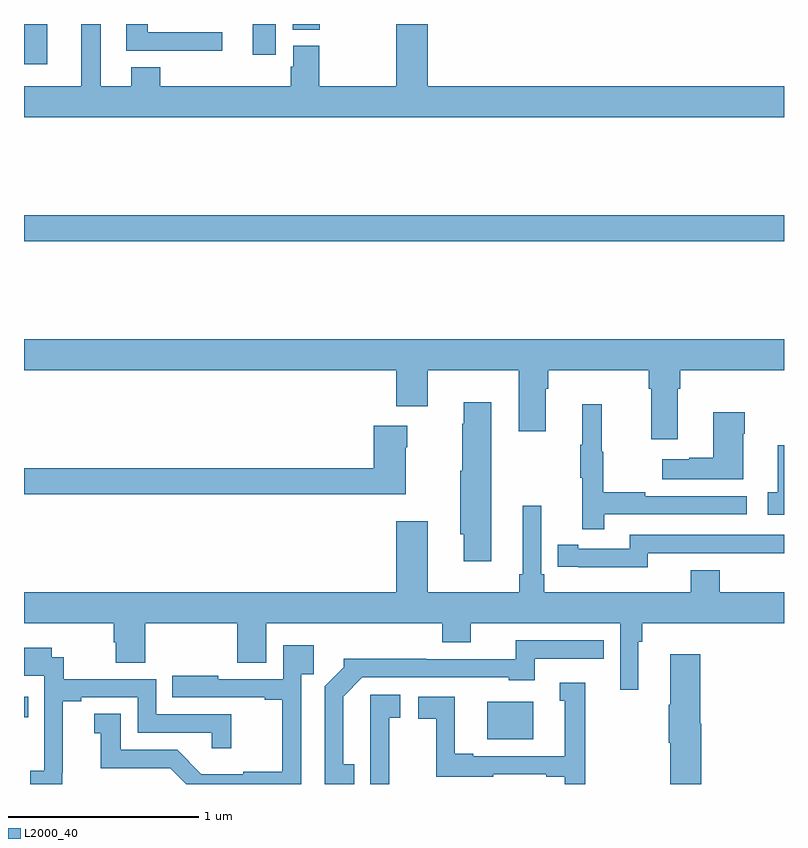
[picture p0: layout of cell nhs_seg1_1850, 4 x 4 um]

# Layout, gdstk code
import gdstk
lib = gdstk.Library(unit=1e-6, precision=1e-09)
def R(c, l, rs):  # rectangles x0, y0, x1, y1
    for r in rs: c.add(gdstk.rectangle(r[:2], r[2:], *l))
def P(c, l, *ps):  # polygons
    for p in ps: c.add(gdstk.Polygon(p, *l))
L2000_40 = (2000, 40)

nhs_seg1_1850 = lib.new_cell('nhs_seg1_1850')
R(nhs_seg1_1850, L2000_40, [(213.437,572.435,213.679,572.632), (211,572.55,211.022,572.658), (211,575.056,215,575.192), (211,575.987,211.123,576.199), (212.204,576.036,212.326,576.199), (212.414,576.169,212.556,576.199)])
P(nhs_seg1_1850, L2000_40, [(215,575.872),(213.124,575.872),(213.124,576.199),(212.96,576.199),(212.96,575.872),(212.553,575.872),(212.553,576.084),(212.417,576.084),(212.417,575.973),(212.405,575.973),(212.405,575.872),(211.718,575.872),(211.718,575.971),(211.565,575.971),(211.565,575.872),(211.405,575.872),(211.405,576.199),(211.301,576.199),(211.301,575.872),(211,575.872),(211,575.708),(215,575.708)],
  [(212.044,576.156),(211.651,576.156),(211.651,576.199),(211.538,576.199),(211.538,576.059),(212.044,576.059)],
  [(214.441,574.28),(214.454,574.28),(214.454,574.376),(215,574.376),(215,574.54),(211,574.54),(211,574.376),(212.96,574.376),(212.96,574.188),(213.124,574.188),(213.124,574.376),(213.605,574.376),(213.605,574.056),(213.745,574.056),(213.745,574.28),(213.758,574.28),(213.758,574.376),(214.289,574.376),(214.289,574.28),(214.301,574.28),(214.301,574.014),(214.441,574.014)],
  [(213.46,574.207),(213.314,574.207),(213.314,574.094),(213.307,574.094),(213.307,573.849),(213.296,573.849),(213.296,573.513),(213.314,573.513),(213.314,573.372),(213.46,573.372)],
  [(214.055,573.618),(214.804,573.618),(214.804,573.714),(214.271,573.714),(214.271,573.734),(214.048,573.734),(214.048,573.948),(214.04,573.948),(214.04,574.198),(213.938,574.198),(213.938,573.985),(213.927,573.985),(213.927,573.811),(213.938,573.811),(213.938,573.54),(214.055,573.54)],
  [(214.786,574.043),(214.794,574.043),(214.794,574.156),(214.628,574.156),(214.628,573.917),(214.502,573.917),(214.502,573.907),(214.359,573.907),(214.359,573.803),(214.786,573.803)],
  [(213.01,573.971),(213.018,573.971),(213.018,574.084),(212.84,574.084),(212.84,573.86),(211,573.86),(211,573.724),(213.01,573.724)],
  [(215,573.982),(214.967,573.982),(214.967,573.735),(214.914,573.735),(214.914,573.615),(215,573.615)],
  [(214.234,572.948),(214.253,572.948),(214.253,573.044),(215,573.044),(215,573.208),(214.661,573.208),(214.661,573.325),(214.508,573.325),(214.508,573.208),(213.737,573.208),(213.737,573.304),(213.723,573.304),(213.723,573.664),(213.626,573.664),(213.626,573.304),(213.607,573.304),(213.607,573.208),(213.124,573.208),(213.124,573.583),(212.96,573.583),(212.96,573.208),(211,573.208),(211,573.044),(211.472,573.044),(211.472,572.946),(211.484,572.946),(211.484,572.836),(211.637,572.836),(211.637,573.044),(212.123,573.044),(212.123,572.836),(212.275,572.836),(212.275,573.044),(213.2,573.044),(213.2,572.945),(213.352,572.945),(213.352,573.044),(214.137,573.044),(214.137,572.694),(214.234,572.694)],
  [(214.284,573.414),(214.744,573.414),(214.744,573.413),(215,573.413),(215,573.51),(214.188,573.51),(214.188,573.438),(213.916,573.438),(213.916,573.458),(213.808,573.458),(213.808,573.342),(213.916,573.342),(213.916,573.341),(214.284,573.341)],
  [(212.738,572.303),(212.68,572.303),(212.68,572.659),(212.781,572.76),(213.552,572.76),(213.552,572.744),(213.688,572.744),(213.688,572.859),(214.052,572.859),(214.052,572.955),(213.589,572.955),(213.589,572.856),(213.116,572.856),(213.116,572.858),(212.682,572.858),(212.682,572.813),(212.583,572.714),(212.583,572.199),(212.738,572.199)],
  [(212.46,572.777),(212.525,572.777),(212.525,572.929),(212.364,572.929),(212.364,572.751),(212.023,572.751),(212.023,572.77),(211.78,572.77),(211.78,572.655),(212.267,572.655),(212.267,572.643),(212.359,572.643),(212.359,572.263),(212.153,572.263),(212.153,572.251),(211.934,572.251),(211.806,572.379),(211.51,572.379),(211.51,572.57),(211.37,572.57),(211.37,572.467),(211.403,572.467),(211.403,572.283),(211.77,572.283),(211.854,572.199),(212.46,572.199)],
  [(211.202,572.257),(211.204,572.257),(211.204,572.635),(211.3,572.635),(211.3,572.655),(211.599,572.655),(211.599,572.469),(211.989,572.469),(211.989,572.388),(212.09,572.388),(212.09,572.565),(211.695,572.565),(211.695,572.751),(211.208,572.751),(211.208,572.865),(211.146,572.865),(211.146,572.917),(211,572.917),(211,572.769),(211.107,572.769),(211.107,572.465),(211.106,572.465),(211.106,572.268),(211.032,572.268),(211.032,572.199),(211.202,572.199)],
  [(214.564,572.517),(214.559,572.517),(214.559,572.881),(214.4,572.881),(214.4,572.617),(214.393,572.617),(214.393,572.417),(214.4,572.417),(214.4,572.199),(214.564,572.199)],
  [(213.955,572.731),(213.821,572.731),(213.821,572.637),(213.845,572.637),(213.845,572.346),(213.364,572.346),(213.364,572.359),(213.268,572.359),(213.268,572.658),(213.075,572.658),(213.075,572.542),(213.169,572.542),(213.169,572.238),(213.47,572.238),(213.47,572.25),(213.749,572.25),(213.749,572.238),(213.845,572.238),(213.845,572.199),(213.955,572.199)],
  [(212.922,572.547),(212.98,572.547),(212.98,572.668),(212.822,572.668),(212.822,572.392),(212.823,572.392),(212.823,572.199),(212.922,572.199)])

lib.write_gds('nhs_seg1_1850.gds')
